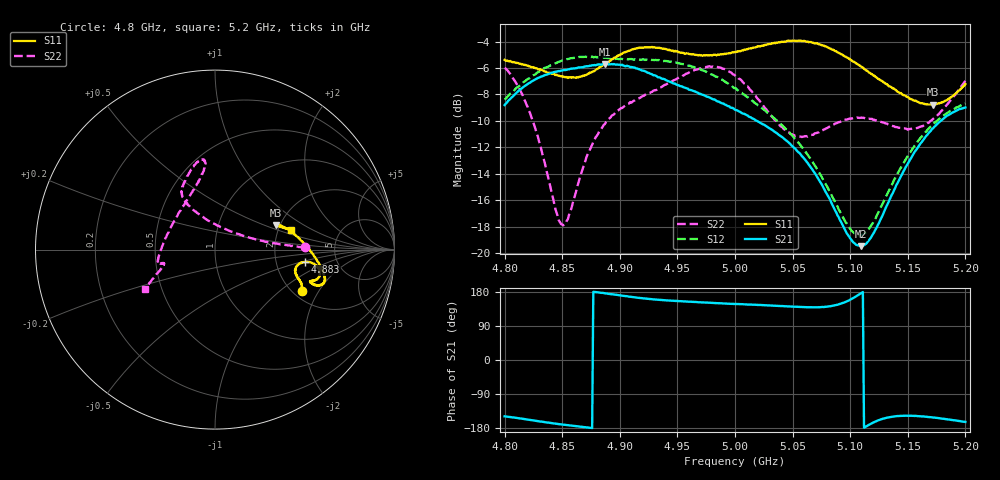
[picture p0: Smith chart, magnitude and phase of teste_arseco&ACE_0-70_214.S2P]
! Network Analyzer HP8722D
! Hewlett-Packard
! Data name: Linha & Wilkinson
! Saver's name: Rodrigo Anjos
! Comments: Teste da utilização de aquisição
! continua pelo VNA HP8722D
! Time and date: 8/5/2025 14:32
!  Frequency  S11  S21  S12  S22
# HZ  S  MA R 50
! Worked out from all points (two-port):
!   401 points, 4.8 GHz to 5.2 GHz, reference 50 ohm
!   highest |S21| = -5.69 dB at 4.887 GHz (marker M1); lowest = -19.5 dB at 5.109 GHz (marker M2)
!   |S21| within 3 dB of the highest: 4.801 GHz to 4.99 GHz (189.1 MHz wide, 3.86 % of centre)
!   lowest |S11| = -8.8 dB at 5.172 GHz (marker M3), VSWR 2.15, Z = 94.9 + j29.9 ohm
!   |S11| at or under -10 dB: nowhere
!   |S22| runs from -17.9 to -5.9 dB; largest |S21 - S12| = 1.1
!   S11 on the Smith chart (normalised r, x): 4.8 GHz: 2.24, -1.45; 4.883 GHz: 2.94, -0.56; 5.2 GHz: 2.33, +0.64
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4.8e9  0.5377 -25.4  0.3631 -148.7  0.3812 10.8  0.5012 1.4
4.812e9  0.5227 -22.4  0.4104 -153.6  0.4269 8.9  0.4248 2.7
4.823e9  0.5052 -20.5  0.4448 -158.6  0.4633 7.4  0.3295 6.1
4.845e9  0.4728 -16.8  0.4856 -168.3  0.5237 3.8  0.143 41.2
4.849e9  0.4667 -16.1  0.4902 -169.9  0.5326 3.3  0.1291 58.4
4.855e9  0.4598 -14.5  0.4954 -172.1  0.5418 2.3  0.1348 84.8
4.867e9  0.4657 -11.0  0.5041 -176.3  0.5518 0.6  0.2036 112.5
4.883e9  0.5075 -7.9  0.5166 177.6  0.5479 -0.7  0.2917 121.4
4.887e9  0.5196 -7.7  0.5193 176.1  0.5479 -0.6  0.3078 121.4
4.912e9  0.5911 -10.5  0.5034 165.8  0.5389 -0.2  0.3769 119.4
4.934e9  0.5975 -15.4  0.4623 158.7  0.537 -1.3  0.4196 113.1
4.976e9  0.5604 -18.5  0.3901 151.4  0.4822 -5.1  0.5058 99.1
5e9  0.5764 -19.1  0.3487 147.9  0.4215 -5.0  0.47 96.8
5.044e9  0.6302 -17.5  0.2679 141.7  0.2952 3.1  0.2903 131.1
5.067e9  0.6249 -13.4  0.208 139.0  0.2227 9.5  0.2803 164.5
5.098e9  0.5471 -2.8  0.1175 156.1  0.1273 36.9  0.3211 -170.3
5.109e9  0.5095 2.3  0.1065 175.5  0.1172 58.5  0.3251 -167.3
5.119e9  0.4747 7.5  0.1168 -166.6  0.1289 77.9  0.322 -166.0
5.134e9  0.4268 14.3  0.1589 -150.9  0.1738 94.8  0.3051 -165.8
5.152e9  0.3832 20.6  0.2261 -147.2  0.2401 101.5  0.2952 -164.4
5.172e9  0.3647 22.0  0.2966 -151.7  0.3075 102.7  0.3223 -160.2
5.2e9  0.4356 14.9  0.3557 -163.4  0.3684 102.9  0.4478 -150.5
